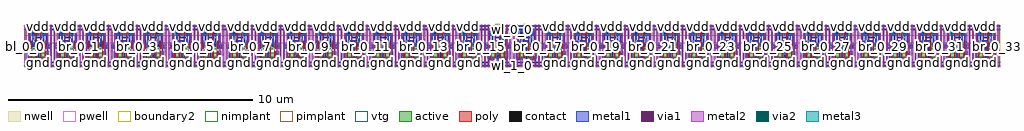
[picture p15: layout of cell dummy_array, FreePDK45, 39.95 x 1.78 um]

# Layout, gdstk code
import gdstk
lib = gdstk.Library(unit=1e-6, precision=5e-10)
def R(c, l, rs):  # rectangles x0, y0, x1, y1
    for r in rs: c.add(gdstk.rectangle(r[:2], r[2:], *l))
def A(c, l, x, y, w, h, nx, ny, dx, dy):  # array of equal rectangles
    R(c, l, [(x+i*dx, y+j*dy, x+i*dx+w, y+j*dy+h) for i in range(nx) for j in range(ny)])
active = (1, 0)
pwell = (2, 0)
nwell = (3, 0)
nimplant = (4, 0)
pimplant = (5, 0)
vtg = (6, 0)
poly = (9, 0)
contact = (10, 0)
metal1 = (11, 0)
via1 = (12, 0)
metal2 = (13, 0)
via2 = (14, 0)
metal3 = (15, 0)
boundary2 = (239, 0)

dummy_cell_2rw = lib.new_cell('dummy_cell_2rw')
R(dummy_cell_2rw, active, [(0.545,0.155,0.635,0.245), (0.165,0.4175,0.22,0.5975), (0.2075,0.4175,0.2775,0.5975), (0.2075,0.4175,0.3975,0.5975), (0.3275,0.4175,0.3975,0.5975), (0.3975,0.4175,0.4675,0.5975), (0.3975,0.4175,0.5875,0.5975), (0.5175,0.4175,0.5875,0.5975), (0.5525,0.4175,0.6275,0.4925), (0.5525,0.4175,0.6275,0.5975), (0.5525,0.4175,0.6275,0.5975), (0.5525,0.4175,0.7775,0.5975), (0.7075,0.4175,0.7775,0.5975), (0.7775,0.4175,0.8475,0.5975), (0.7775,0.4175,0.9675,0.5975), (0.8975,0.4175,0.9675,0.5975), (0.955,0.4175,1.01,0.5975), (0.165,0.4625,0.255,0.5525), (0.92,0.4625,1.01,0.5525), (0.3625,0.7375,0.4375,0.9425), (0.3625,0.7375,0.4375,0.9425), (0.3625,0.7375,0.5875,0.9425), (0.5175,0.7375,0.5875,0.9425), (0.5875,0.7375,0.6575,0.9425), (0.5875,0.7375,0.8125,0.9425), (0.7375,0.7375,0.8125,0.9425), (0.7375,0.7375,0.8125,0.9425), (0.545,0.7575,0.635,0.8475), (0.1575,0.8075,0.2325,0.8825), (0.1575,0.8075,0.2325,0.9425), (0.1575,0.8075,0.2325,0.9425), (0.1575,0.8075,0.3825,0.9425), (0.3125,0.8075,0.3825,0.9425), (0.7925,0.8075,0.8625,0.9425), (0.7925,0.8075,1.0175,0.9425), (0.9425,0.8075,1.0175,0.8825), (0.9425,0.8075,1.0175,0.9425), (0.9425,0.8075,1.0175,0.9425), (0.3625,0.8675,0.4375,0.9425), (0.7375,0.8675,0.8125,0.9425), (0.3625,1.3475,0.4375,1.4225), (0.3625,1.3475,0.4375,1.4375), (0.3625,1.3475,0.4375,1.4375), (0.3625,1.3475,0.6225,1.4375), (0.5475,1.3475,0.6225,1.4225), (0.5475,1.3475,0.6225,1.4375), (0.5475,1.3475,0.6225,1.4375), (0.5875,1.3475,0.6575,1.4375), (0.5875,1.3475,0.8125,1.4375), (0.7375,1.3475,0.8125,1.4225), (0.7375,1.3475,0.8125,1.4375), (0.7375,1.3475,0.8125,1.4375), (0.54,1.635,0.63,1.725)])
R(dummy_cell_2rw, pwell, [(0,0,1.175,0.9975), (0.49,0.1,0.69,0.3), (0.1525,0.3625,0.4525,0.6525), (0.3425,0.3625,0.6425,0.6525), (0.4975,0.3625,0.8325,0.6525), (0.7225,0.3625,1.0225,0.6525), (0.3075,0.6825,0.6425,0.9975), (0.5325,0.6825,0.8675,0.9975), (0.1025,0.7525,0.4375,0.9975), (0.7375,0.7525,1.0725,0.9975)])
R(dummy_cell_2rw, nwell, [(0,1.2925,1.175,1.68), (0.3075,1.2925,0.6775,1.4925), (0.5325,1.2925,0.8675,1.4925), (0.485,1.58,0.685,1.78)])
R(dummy_cell_2rw, nimplant, [(0.165,0.4175,0.22,0.5975), (0.2075,0.4175,0.3975,0.5975), (0.3975,0.4175,0.5875,0.5975), (0.5525,0.4175,0.7775,0.5975), (0.7775,0.4175,0.9675,0.5975), (0.955,0.4175,1.01,0.5975), (0.165,0.4625,0.255,0.5525), (0.92,0.4625,1.01,0.5525), (0.3625,0.7375,0.5875,0.9425), (0.5875,0.7375,0.8125,0.9425), (0.545,0.7575,0.635,0.8475), (0.1575,0.8075,0.3825,0.9425), (0.7925,0.8075,1.0175,0.9425), (0.54,1.635,0.63,1.725)])
R(dummy_cell_2rw, pimplant, [(0.545,0.155,0.635,0.245), (0.3625,1.3475,0.6225,1.4375), (0.5875,1.3475,0.8125,1.4375)])
R(dummy_cell_2rw, vtg, [(0.1525,0.3625,0.4525,0.6525), (0.3425,0.3625,0.6425,0.6525), (0.4975,0.3625,0.8325,0.6525), (0.7225,0.3625,1.0225,0.6525), (0.3075,0.6825,0.6425,0.9975), (0.5325,0.6825,0.8675,0.9975), (0.1025,0.7525,0.4375,0.9975), (0.7375,0.7525,1.0725,0.9975), (0.3075,1.2925,0.6775,1.4925), (0.5325,1.2925,0.8675,1.4925)])
A(dummy_cell_2rw, poly, 0.2775, 0.3625, 0.05, 0.055, 4, 2, 0.19, 0.235)
A(dummy_cell_2rw, poly, 0.2775, 0.3625, 0.05, 0.29, 4, 1, 0.19, 0)
R(dummy_cell_2rw, poly, [(0.265,0.2925,0.34,0.3675), (0.835,0.2925,0.91,0.3675), (0.6575,0.625,0.7075,0.71), (0.4675,0.635,0.5175,0.71), (0.4675,0.6825,0.5175,0.9975), (0.4675,0.6825,0.5175,0.7375), (0.6575,0.6825,0.7075,0.9975), (0.6575,0.6825,0.7075,0.7375), (0.2625,0.7525,0.3125,0.8075), (0.2625,0.7525,0.3125,0.9975), (0.8625,0.7525,0.9125,0.8075), (0.8625,0.7525,0.9125,0.9975), (0.4675,0.9075,0.5175,1.32), (0.6575,0.9075,0.7075,1.32), (0.2625,0.9425,0.3125,0.9975), (0.4675,0.9425,0.5175,0.9975), (0.6575,0.9425,0.7075,0.9975), (0.8625,0.9425,0.9125,0.9975), (0.2625,0.985,0.3125,1.0825), (0.8625,0.985,0.9125,1.0825), (0.2125,1.0075,0.2875,1.0825), (0.8875,1.0075,0.9625,1.0825), (0.5925,1.0325,0.6675,1.1075), (0.5075,1.1825,0.5825,1.2575), (0.4675,1.2925,0.5175,1.3475), (0.4675,1.2925,0.5175,1.4925), (0.6575,1.2925,0.7075,1.3475), (0.6575,1.2925,0.7075,1.4925), (0.4675,1.4375,0.5175,1.4925), (0.6575,1.4375,0.7075,1.4925)])
R(dummy_cell_2rw, contact, [(0.5575,0.1675,0.6225,0.2325), (0.27,0.2975,0.335,0.3625), (0.84,0.2975,0.905,0.3625), (0.5575,0.4225,0.6225,0.4875), (0.1775,0.475,0.2425,0.54), (0.9325,0.475,0.9975,0.54), (0.5575,0.77,0.6225,0.835), (0.1625,0.8125,0.2275,0.8775), (0.9475,0.8125,1.0125,0.8775), (0.3675,0.8725,0.4325,0.9375), (0.7425,0.8725,0.8075,0.9375), (0.2175,1.0125,0.2825,1.0775), (0.8925,1.0125,0.9575,1.0775), (0.5975,1.0375,0.6625,1.1025), (0.5125,1.1875,0.5775,1.2525), (0.3675,1.3525,0.4325,1.4175), (0.5525,1.3525,0.6175,1.4175), (0.7425,1.3525,0.8075,1.4175), (0.5525,1.6475,0.6175,1.7125)])
R(dummy_cell_2rw, metal1, [(0,0.0375,1.175,0.1025), (0,0.0375,1.175,0.1025), (0.315,0.0375,0.45,0.1025), (0.725,0.0375,0.86,0.1025), (0.11,0.05,0.1725,0.08), (0,0.1675,1.175,0.2325), (0.5225,0.1675,0.6575,0.2325), (0.5575,0.1975,0.6225,0.8), (0.235,0.2975,0.37,0.3625), (0.315,0.2975,0.45,0.3625), (0.725,0.2975,0.86,0.3625), (0.805,0.2975,0.94,0.3625), (0.5575,0.3875,0.6225,0.5225), (0.1775,0.44,0.2425,0.575), (0.1775,0.44,0.2425,0.575), (0.9325,0.44,0.9975,0.575), (0.9325,0.44,0.9975,0.575), (0.5575,0.735,0.6225,0.87), (0.0375,0.7775,0.1025,0.9125), (0.0375,0.7775,0.2275,0.9125), (0.1625,0.7775,0.2275,0.9125), (0.9475,0.7775,1.0125,0.9125), (0.9475,0.7775,1.1375,0.9125), (1.0725,0.7775,1.1375,0.9125), (0.3475,0.8375,0.4125,1.4525), (0.3675,0.8375,0.4325,0.9725), (0.7425,0.8375,0.8075,0.9725), (0.7625,0.8375,0.8275,1.4525), (0.2175,0.9775,0.2825,1.1125), (0.8925,0.9775,0.9575,1.1125), (0.3675,1.0375,0.5825,1.1025), (0.5625,1.0375,0.6975,1.1025), (0.2175,1.08,0.2825,1.57), (0.8925,1.08,0.9575,1.57), (0.4775,1.1875,0.6125,1.2525), (0.5925,1.1875,0.8275,1.2525), (0.3675,1.3175,0.4325,1.4525), (0.5525,1.3175,0.6175,1.4525), (0.5525,1.3175,0.6175,1.4525), (0.7425,1.3175,0.8075,1.4525), (0,1.5175,1.175,1.5825), (0,1.5175,1.175,1.5825), (0.1,1.5275,0.185,1.5625), (0,1.6475,1.175,1.7125), (0.5175,1.6475,0.6525,1.7125), (0.5175,1.6475,0.6525,1.7125)])
R(dummy_cell_2rw, via1, [(0.35,0.0375,0.415,0.1025), (0.76,0.0375,0.825,0.1025), (0.5575,0.1675,0.6225,0.2325), (0.35,0.2975,0.415,0.3625), (0.76,0.2975,0.825,0.3625), (0.5525,1.3525,0.6175,1.4175), (0.5525,1.6475,0.6175,1.7125)])
R(dummy_cell_2rw, metal2, [(0.035,0,0.105,1.745), (0.035,0,0.105,1.745), (0.175,0,0.245,1.745), (0.175,0,0.245,1.745), (0.93,0,1,1.745), (0.93,0,1,1.745), (1.07,0,1.14,1.745), (1.07,0,1.14,1.745), (0.315,0.035,0.45,0.105), (0.725,0.035,0.86,0.105), (0.3475,0.1025,0.4175,0.365), (0.7575,0.1025,0.8275,0.365), (0.5225,0.165,0.6575,0.235), (0.315,0.295,0.45,0.365), (0.725,0.295,0.86,0.365), (0.175,0.44,0.245,0.575), (0.93,0.44,1,0.575), (0.035,0.7775,0.105,0.9125), (1.07,0.7775,1.14,0.9125), (0.55,1.3175,0.62,1.4525), (1.0875,1.3225,1.1325,1.3575), (0.9525,1.33,0.985,1.36), (0.1925,1.34,0.23,1.365), (0.0475,1.3425,0.09,1.37), (0.55,1.3425,0.62,1.7125), (0.5175,1.645,0.6525,1.715)])
R(dummy_cell_2rw, via2, [(0.5575,0.1675,0.6225,0.2325), (0.5525,1.6475,0.6175,1.7125)])
R(dummy_cell_2rw, metal3, [(0.5225,0.165,0.6575,0.235), (0.5225,0.165,0.6575,0.235), (0.5825,0.1875,0.605,0.21), (0.5175,1.645,0.6525,1.715), (0.5175,1.645,0.6525,1.715), (0.58,1.6775,0.59,1.6875)])
R(dummy_cell_2rw, boundary2, [(0,0,1.175,1.68)])
dummy_cell_2rw.add(gdstk.Label('wl1', (0.135,0.0625), layer=11, texttype=0))
dummy_cell_2rw.add(gdstk.Label('wl0', (0.14,1.54), layer=11, texttype=0))
dummy_cell_2rw.add(gdstk.Label('br0', (1.1075,1.3425), layer=13, texttype=0))
dummy_cell_2rw.add(gdstk.Label('br1', (0.9675,1.3475), layer=13, texttype=0))
dummy_cell_2rw.add(gdstk.Label('bl1', (0.205,1.3575), layer=13, texttype=0))
dummy_cell_2rw.add(gdstk.Label('bl0', (0.07,1.3575), layer=13, texttype=0))
dummy_cell_2rw.add(gdstk.Label('vdd', (0.585,1.6825), layer=15, texttype=0))
dummy_cell_2rw.add(gdstk.Label('gnd', (0.5925,0.1975), layer=15, texttype=0))
dummy_cell_2rw.add(gdstk.Label('bl0', (0.07,0.8725), layer=13, texttype=0))
dummy_cell_2rw.add(gdstk.Label('br0', (1.105,0.8725), layer=13, texttype=0))
dummy_cell_2rw.add(gdstk.Label('bl1', (0.21,0.8725), layer=13, texttype=0))
dummy_cell_2rw.add(gdstk.Label('br1', (0.965,0.8725), layer=13, texttype=0))
dummy_cell_2rw.add(gdstk.Label('wl0', (0.5875,1.55), layer=11, texttype=0))
dummy_cell_2rw.add(gdstk.Label('wl1', (0.5875,0.07), layer=11, texttype=0))
dummy_cell_2rw.add(gdstk.Label('vdd', (0.585,1.68), layer=15, texttype=0))
dummy_cell_2rw.add(gdstk.Label('gnd', (0.59,0.2), layer=15, texttype=0))

dummy_array = lib.new_cell('dummy_array')
R(dummy_array, metal1, [(0,0.0375,39.95,0.1025), (0,1.5175,39.95,1.5825)])
A(dummy_array, metal2, 0.93, 0, 0.07, 1.68, 4, 1, 0.14, 0)
A(dummy_array, metal2, 2.105, 0, 0.07, 1.68, 4, 1, 0.14, 0)
A(dummy_array, metal2, 3.28, 0, 0.07, 1.68, 4, 1, 0.14, 0)
A(dummy_array, metal2, 4.455, 0, 0.07, 1.68, 4, 1, 0.14, 0)
A(dummy_array, metal2, 5.63, 0, 0.07, 1.68, 4, 1, 0.14, 0)
A(dummy_array, metal2, 6.805, 0, 0.07, 1.68, 4, 1, 0.14, 0)
A(dummy_array, metal2, 7.98, 0, 0.07, 1.68, 4, 1, 0.14, 0)
A(dummy_array, metal2, 9.155, 0, 0.07, 1.68, 4, 1, 0.14, 0)
A(dummy_array, metal2, 10.33, 0, 0.07, 1.68, 4, 1, 0.14, 0)
A(dummy_array, metal2, 11.505, 0, 0.07, 1.68, 4, 1, 0.14, 0)
A(dummy_array, metal2, 12.68, 0, 0.07, 1.68, 4, 1, 0.14, 0)
A(dummy_array, metal2, 13.855, 0, 0.07, 1.68, 4, 1, 0.14, 0)
A(dummy_array, metal2, 15.03, 0, 0.07, 1.68, 4, 1, 0.14, 0)
A(dummy_array, metal2, 16.205, 0, 0.07, 1.68, 4, 1, 0.14, 0)
A(dummy_array, metal2, 17.38, 0, 0.07, 1.68, 4, 1, 0.14, 0)
A(dummy_array, metal2, 18.555, 0, 0.07, 1.68, 4, 1, 0.14, 0)
A(dummy_array, metal2, 19.73, 0, 0.07, 1.68, 4, 1, 0.14, 0)
A(dummy_array, metal2, 20.905, 0, 0.07, 1.68, 4, 1, 0.14, 0)
A(dummy_array, metal2, 22.08, 0, 0.07, 1.68, 4, 1, 0.14, 0)
A(dummy_array, metal2, 23.255, 0, 0.07, 1.68, 4, 1, 0.14, 0)
A(dummy_array, metal2, 24.43, 0, 0.07, 1.68, 4, 1, 0.14, 0)
A(dummy_array, metal2, 25.605, 0, 0.07, 1.68, 4, 1, 0.14, 0)
A(dummy_array, metal2, 26.78, 0, 0.07, 1.68, 4, 1, 0.14, 0)
A(dummy_array, metal2, 27.955, 0, 0.07, 1.68, 4, 1, 0.14, 0)
A(dummy_array, metal2, 29.13, 0, 0.07, 1.68, 4, 1, 0.14, 0)
A(dummy_array, metal2, 30.305, 0, 0.07, 1.68, 4, 1, 0.14, 0)
A(dummy_array, metal2, 31.48, 0, 0.07, 1.68, 4, 1, 0.14, 0)
A(dummy_array, metal2, 32.655, 0, 0.07, 1.68, 4, 1, 0.14, 0)
A(dummy_array, metal2, 33.83, 0, 0.07, 1.68, 4, 1, 0.14, 0)
A(dummy_array, metal2, 35.005, 0, 0.07, 1.68, 4, 1, 0.14, 0)
A(dummy_array, metal2, 36.18, 0, 0.07, 1.68, 4, 1, 0.14, 0)
A(dummy_array, metal2, 37.355, 0, 0.07, 1.68, 4, 1, 0.14, 0)
A(dummy_array, metal2, 38.53, 0, 0.07, 1.68, 4, 1, 0.14, 0)
R(dummy_array, metal2, [(0.035,0,0.105,1.68), (0.175,0,0.245,1.68), (39.705,0,39.775,1.68), (39.845,0,39.915,1.68)])
A(dummy_array, metal3, 0.5225, 0.165, 0.135, 0.07, 34, 1, 1.175, 0)
A(dummy_array, metal3, 0.5175, 1.645, 0.135, 0.07, 34, 1, 1.175, 0)
R(dummy_array, boundary2, [(0,0,39.95,1.68)])
dummy_array.add(gdstk.Reference(dummy_cell_2rw, (0,0)))
dummy_array.add(gdstk.Reference(dummy_cell_2rw, (1.175,0)))
dummy_array.add(gdstk.Reference(dummy_cell_2rw, (2.35,0)))
dummy_array.add(gdstk.Reference(dummy_cell_2rw, (3.525,0)))
dummy_array.add(gdstk.Reference(dummy_cell_2rw, (4.7,0)))
dummy_array.add(gdstk.Reference(dummy_cell_2rw, (5.875,0)))
dummy_array.add(gdstk.Reference(dummy_cell_2rw, (7.05,0)))
dummy_array.add(gdstk.Reference(dummy_cell_2rw, (8.225,0)))
dummy_array.add(gdstk.Reference(dummy_cell_2rw, (9.4,0)))
dummy_array.add(gdstk.Reference(dummy_cell_2rw, (10.575,0)))
dummy_array.add(gdstk.Reference(dummy_cell_2rw, (11.75,0)))
dummy_array.add(gdstk.Reference(dummy_cell_2rw, (12.925,0)))
dummy_array.add(gdstk.Reference(dummy_cell_2rw, (14.1,0)))
dummy_array.add(gdstk.Reference(dummy_cell_2rw, (15.275,0)))
dummy_array.add(gdstk.Reference(dummy_cell_2rw, (16.45,0)))
dummy_array.add(gdstk.Reference(dummy_cell_2rw, (17.625,0)))
dummy_array.add(gdstk.Reference(dummy_cell_2rw, (18.8,0)))
dummy_array.add(gdstk.Reference(dummy_cell_2rw, (19.975,0)))
dummy_array.add(gdstk.Reference(dummy_cell_2rw, (21.15,0)))
dummy_array.add(gdstk.Reference(dummy_cell_2rw, (22.325,0)))
dummy_array.add(gdstk.Reference(dummy_cell_2rw, (23.5,0)))
dummy_array.add(gdstk.Reference(dummy_cell_2rw, (24.675,0)))
dummy_array.add(gdstk.Reference(dummy_cell_2rw, (25.85,0)))
dummy_array.add(gdstk.Reference(dummy_cell_2rw, (27.025,0)))
dummy_array.add(gdstk.Reference(dummy_cell_2rw, (28.2,0)))
dummy_array.add(gdstk.Reference(dummy_cell_2rw, (29.375,0)))
dummy_array.add(gdstk.Reference(dummy_cell_2rw, (30.55,0)))
dummy_array.add(gdstk.Reference(dummy_cell_2rw, (31.725,0)))
dummy_array.add(gdstk.Reference(dummy_cell_2rw, (32.9,0)))
dummy_array.add(gdstk.Reference(dummy_cell_2rw, (34.075,0)))
dummy_array.add(gdstk.Reference(dummy_cell_2rw, (35.25,0)))
dummy_array.add(gdstk.Reference(dummy_cell_2rw, (36.425,0)))
dummy_array.add(gdstk.Reference(dummy_cell_2rw, (37.6,0)))
dummy_array.add(gdstk.Reference(dummy_cell_2rw, (38.775,0)))
dummy_array.add(gdstk.Label('bl_0_0', (0.07,0.84), layer=13, texttype=0))
dummy_array.add(gdstk.Label('br_0_0', (1.105,0.84), layer=13, texttype=0))
dummy_array.add(gdstk.Label('bl_1_0', (0.21,0.84), layer=13, texttype=0))
dummy_array.add(gdstk.Label('br_1_0', (0.965,0.84), layer=13, texttype=0))
dummy_array.add(gdstk.Label('bl_0_1', (1.245,0.84), layer=13, texttype=0))
dummy_array.add(gdstk.Label('br_0_1', (2.28,0.84), layer=13, texttype=0))
dummy_array.add(gdstk.Label('bl_1_1', (1.385,0.84), layer=13, texttype=0))
dummy_array.add(gdstk.Label('br_1_1', (2.14,0.84), layer=13, texttype=0))
dummy_array.add(gdstk.Label('bl_0_2', (2.42,0.84), layer=13, texttype=0))
dummy_array.add(gdstk.Label('br_0_2', (3.455,0.84), layer=13, texttype=0))
dummy_array.add(gdstk.Label('bl_1_2', (2.56,0.84), layer=13, texttype=0))
dummy_array.add(gdstk.Label('br_1_2', (3.315,0.84), layer=13, texttype=0))
dummy_array.add(gdstk.Label('bl_0_3', (3.595,0.84), layer=13, texttype=0))
dummy_array.add(gdstk.Label('br_0_3', (4.63,0.84), layer=13, texttype=0))
dummy_array.add(gdstk.Label('bl_1_3', (3.735,0.84), layer=13, texttype=0))
dummy_array.add(gdstk.Label('br_1_3', (4.49,0.84), layer=13, texttype=0))
dummy_array.add(gdstk.Label('bl_0_4', (4.77,0.84), layer=13, texttype=0))
dummy_array.add(gdstk.Label('br_0_4', (5.805,0.84), layer=13, texttype=0))
dummy_array.add(gdstk.Label('bl_1_4', (4.91,0.84), layer=13, texttype=0))
dummy_array.add(gdstk.Label('br_1_4', (5.665,0.84), layer=13, texttype=0))
dummy_array.add(gdstk.Label('bl_0_5', (5.945,0.84), layer=13, texttype=0))
dummy_array.add(gdstk.Label('br_0_5', (6.98,0.84), layer=13, texttype=0))
dummy_array.add(gdstk.Label('bl_1_5', (6.085,0.84), layer=13, texttype=0))
dummy_array.add(gdstk.Label('br_1_5', (6.84,0.84), layer=13, texttype=0))
dummy_array.add(gdstk.Label('bl_0_6', (7.12,0.84), layer=13, texttype=0))
dummy_array.add(gdstk.Label('br_0_6', (8.155,0.84), layer=13, texttype=0))
dummy_array.add(gdstk.Label('bl_1_6', (7.26,0.84), layer=13, texttype=0))
dummy_array.add(gdstk.Label('br_1_6', (8.015,0.84), layer=13, texttype=0))
dummy_array.add(gdstk.Label('bl_0_7', (8.295,0.84), layer=13, texttype=0))
dummy_array.add(gdstk.Label('br_0_7', (9.33,0.84), layer=13, texttype=0))
dummy_array.add(gdstk.Label('bl_1_7', (8.435,0.84), layer=13, texttype=0))
dummy_array.add(gdstk.Label('br_1_7', (9.19,0.84), layer=13, texttype=0))
dummy_array.add(gdstk.Label('bl_0_8', (9.47,0.84), layer=13, texttype=0))
dummy_array.add(gdstk.Label('br_0_8', (10.505,0.84), layer=13, texttype=0))
dummy_array.add(gdstk.Label('bl_1_8', (9.61,0.84), layer=13, texttype=0))
dummy_array.add(gdstk.Label('br_1_8', (10.365,0.84), layer=13, texttype=0))
dummy_array.add(gdstk.Label('bl_0_9', (10.645,0.84), layer=13, texttype=0))
dummy_array.add(gdstk.Label('br_0_9', (11.68,0.84), layer=13, texttype=0))
dummy_array.add(gdstk.Label('bl_1_9', (10.785,0.84), layer=13, texttype=0))
dummy_array.add(gdstk.Label('br_1_9', (11.54,0.84), layer=13, texttype=0))
dummy_array.add(gdstk.Label('bl_0_10', (11.82,0.84), layer=13, texttype=0))
dummy_array.add(gdstk.Label('br_0_10', (12.855,0.84), layer=13, texttype=0))
dummy_array.add(gdstk.Label('bl_1_10', (11.96,0.84), layer=13, texttype=0))
dummy_array.add(gdstk.Label('br_1_10', (12.715,0.84), layer=13, texttype=0))
dummy_array.add(gdstk.Label('bl_0_11', (12.995,0.84), layer=13, texttype=0))
dummy_array.add(gdstk.Label('br_0_11', (14.03,0.84), layer=13, texttype=0))
dummy_array.add(gdstk.Label('bl_1_11', (13.135,0.84), layer=13, texttype=0))
dummy_array.add(gdstk.Label('br_1_11', (13.89,0.84), layer=13, texttype=0))
dummy_array.add(gdstk.Label('bl_0_12', (14.17,0.84), layer=13, texttype=0))
dummy_array.add(gdstk.Label('br_0_12', (15.205,0.84), layer=13, texttype=0))
dummy_array.add(gdstk.Label('bl_1_12', (14.31,0.84), layer=13, texttype=0))
dummy_array.add(gdstk.Label('br_1_12', (15.065,0.84), layer=13, texttype=0))
dummy_array.add(gdstk.Label('bl_0_13', (15.345,0.84), layer=13, texttype=0))
dummy_array.add(gdstk.Label('br_0_13', (16.38,0.84), layer=13, texttype=0))
dummy_array.add(gdstk.Label('bl_1_13', (15.485,0.84), layer=13, texttype=0))
dummy_array.add(gdstk.Label('br_1_13', (16.24,0.84), layer=13, texttype=0))
dummy_array.add(gdstk.Label('bl_0_14', (16.52,0.84), layer=13, texttype=0))
dummy_array.add(gdstk.Label('br_0_14', (17.555,0.84), layer=13, texttype=0))
dummy_array.add(gdstk.Label('bl_1_14', (16.66,0.84), layer=13, texttype=0))
dummy_array.add(gdstk.Label('br_1_14', (17.415,0.84), layer=13, texttype=0))
dummy_array.add(gdstk.Label('bl_0_15', (17.695,0.84), layer=13, texttype=0))
dummy_array.add(gdstk.Label('br_0_15', (18.73,0.84), layer=13, texttype=0))
dummy_array.add(gdstk.Label('bl_1_15', (17.835,0.84), layer=13, texttype=0))
dummy_array.add(gdstk.Label('br_1_15', (18.59,0.84), layer=13, texttype=0))
dummy_array.add(gdstk.Label('bl_0_16', (18.87,0.84), layer=13, texttype=0))
dummy_array.add(gdstk.Label('br_0_16', (19.905,0.84), layer=13, texttype=0))
dummy_array.add(gdstk.Label('bl_1_16', (19.01,0.84), layer=13, texttype=0))
dummy_array.add(gdstk.Label('br_1_16', (19.765,0.84), layer=13, texttype=0))
dummy_array.add(gdstk.Label('bl_0_17', (20.045,0.84), layer=13, texttype=0))
dummy_array.add(gdstk.Label('br_0_17', (21.08,0.84), layer=13, texttype=0))
dummy_array.add(gdstk.Label('bl_1_17', (20.185,0.84), layer=13, texttype=0))
dummy_array.add(gdstk.Label('br_1_17', (20.94,0.84), layer=13, texttype=0))
dummy_array.add(gdstk.Label('bl_0_18', (21.22,0.84), layer=13, texttype=0))
dummy_array.add(gdstk.Label('br_0_18', (22.255,0.84), layer=13, texttype=0))
dummy_array.add(gdstk.Label('bl_1_18', (21.36,0.84), layer=13, texttype=0))
dummy_array.add(gdstk.Label('br_1_18', (22.115,0.84), layer=13, texttype=0))
dummy_array.add(gdstk.Label('bl_0_19', (22.395,0.84), layer=13, texttype=0))
dummy_array.add(gdstk.Label('br_0_19', (23.43,0.84), layer=13, texttype=0))
dummy_array.add(gdstk.Label('bl_1_19', (22.535,0.84), layer=13, texttype=0))
dummy_array.add(gdstk.Label('br_1_19', (23.29,0.84), layer=13, texttype=0))
dummy_array.add(gdstk.Label('bl_0_20', (23.57,0.84), layer=13, texttype=0))
dummy_array.add(gdstk.Label('br_0_20', (24.605,0.84), layer=13, texttype=0))
dummy_array.add(gdstk.Label('bl_1_20', (23.71,0.84), layer=13, texttype=0))
dummy_array.add(gdstk.Label('br_1_20', (24.465,0.84), layer=13, texttype=0))
dummy_array.add(gdstk.Label('bl_0_21', (24.745,0.84), layer=13, texttype=0))
dummy_array.add(gdstk.Label('br_0_21', (25.78,0.84), layer=13, texttype=0))
dummy_array.add(gdstk.Label('bl_1_21', (24.885,0.84), layer=13, texttype=0))
dummy_array.add(gdstk.Label('br_1_21', (25.64,0.84), layer=13, texttype=0))
dummy_array.add(gdstk.Label('bl_0_22', (25.92,0.84), layer=13, texttype=0))
dummy_array.add(gdstk.Label('br_0_22', (26.955,0.84), layer=13, texttype=0))
dummy_array.add(gdstk.Label('bl_1_22', (26.06,0.84), layer=13, texttype=0))
dummy_array.add(gdstk.Label('br_1_22', (26.815,0.84), layer=13, texttype=0))
dummy_array.add(gdstk.Label('bl_0_23', (27.095,0.84), layer=13, texttype=0))
dummy_array.add(gdstk.Label('br_0_23', (28.13,0.84), layer=13, texttype=0))
dummy_array.add(gdstk.Label('bl_1_23', (27.235,0.84), layer=13, texttype=0))
dummy_array.add(gdstk.Label('br_1_23', (27.99,0.84), layer=13, texttype=0))
dummy_array.add(gdstk.Label('bl_0_24', (28.27,0.84), layer=13, texttype=0))
dummy_array.add(gdstk.Label('br_0_24', (29.305,0.84), layer=13, texttype=0))
dummy_array.add(gdstk.Label('bl_1_24', (28.41,0.84), layer=13, texttype=0))
dummy_array.add(gdstk.Label('br_1_24', (29.165,0.84), layer=13, texttype=0))
dummy_array.add(gdstk.Label('bl_0_25', (29.445,0.84), layer=13, texttype=0))
dummy_array.add(gdstk.Label('br_0_25', (30.48,0.84), layer=13, texttype=0))
dummy_array.add(gdstk.Label('bl_1_25', (29.585,0.84), layer=13, texttype=0))
dummy_array.add(gdstk.Label('br_1_25', (30.34,0.84), layer=13, texttype=0))
dummy_array.add(gdstk.Label('bl_0_26', (30.62,0.84), layer=13, texttype=0))
dummy_array.add(gdstk.Label('br_0_26', (31.655,0.84), layer=13, texttype=0))
dummy_array.add(gdstk.Label('bl_1_26', (30.76,0.84), layer=13, texttype=0))
dummy_array.add(gdstk.Label('br_1_26', (31.515,0.84), layer=13, texttype=0))
dummy_array.add(gdstk.Label('bl_0_27', (31.795,0.84), layer=13, texttype=0))
dummy_array.add(gdstk.Label('br_0_27', (32.83,0.84), layer=13, texttype=0))
dummy_array.add(gdstk.Label('bl_1_27', (31.935,0.84), layer=13, texttype=0))
dummy_array.add(gdstk.Label('br_1_27', (32.69,0.84), layer=13, texttype=0))
dummy_array.add(gdstk.Label('bl_0_28', (32.97,0.84), layer=13, texttype=0))
dummy_array.add(gdstk.Label('br_0_28', (34.005,0.84), layer=13, texttype=0))
dummy_array.add(gdstk.Label('bl_1_28', (33.11,0.84), layer=13, texttype=0))
dummy_array.add(gdstk.Label('br_1_28', (33.865,0.84), layer=13, texttype=0))
dummy_array.add(gdstk.Label('bl_0_29', (34.145,0.84), layer=13, texttype=0))
dummy_array.add(gdstk.Label('br_0_29', (35.18,0.84), layer=13, texttype=0))
dummy_array.add(gdstk.Label('bl_1_29', (34.285,0.84), layer=13, texttype=0))
dummy_array.add(gdstk.Label('br_1_29', (35.04,0.84), layer=13, texttype=0))
dummy_array.add(gdstk.Label('bl_0_30', (35.32,0.84), layer=13, texttype=0))
dummy_array.add(gdstk.Label('br_0_30', (36.355,0.84), layer=13, texttype=0))
dummy_array.add(gdstk.Label('bl_1_30', (35.46,0.84), layer=13, texttype=0))
dummy_array.add(gdstk.Label('br_1_30', (36.215,0.84), layer=13, texttype=0))
dummy_array.add(gdstk.Label('bl_0_31', (36.495,0.84), layer=13, texttype=0))
dummy_array.add(gdstk.Label('br_0_31', (37.53,0.84), layer=13, texttype=0))
dummy_array.add(gdstk.Label('bl_1_31', (36.635,0.84), layer=13, texttype=0))
dummy_array.add(gdstk.Label('br_1_31', (37.39,0.84), layer=13, texttype=0))
dummy_array.add(gdstk.Label('bl_0_32', (37.67,0.84), layer=13, texttype=0))
dummy_array.add(gdstk.Label('br_0_32', (38.705,0.84), layer=13, texttype=0))
dummy_array.add(gdstk.Label('bl_1_32', (37.81,0.84), layer=13, texttype=0))
dummy_array.add(gdstk.Label('br_1_32', (38.565,0.84), layer=13, texttype=0))
dummy_array.add(gdstk.Label('bl_0_33', (38.845,0.84), layer=13, texttype=0))
dummy_array.add(gdstk.Label('br_0_33', (39.88,0.84), layer=13, texttype=0))
dummy_array.add(gdstk.Label('bl_1_33', (38.985,0.84), layer=13, texttype=0))
dummy_array.add(gdstk.Label('br_1_33', (39.74,0.84), layer=13, texttype=0))
dummy_array.add(gdstk.Label('wl_0_0', (19.975,1.55), layer=11, texttype=0))
dummy_array.add(gdstk.Label('wl_1_0', (19.975,0.07), layer=11, texttype=0))
dummy_array.add(gdstk.Label('vdd', (27.61,1.68), layer=15, texttype=0))
dummy_array.add(gdstk.Label('vdd', (39.36,1.68), layer=15, texttype=0))
dummy_array.add(gdstk.Label('vdd', (14.685,1.68), layer=15, texttype=0))
dummy_array.add(gdstk.Label('vdd', (13.51,1.68), layer=15, texttype=0))
dummy_array.add(gdstk.Label('vdd', (9.985,1.68), layer=15, texttype=0))
dummy_array.add(gdstk.Label('vdd', (37.01,1.68), layer=15, texttype=0))
dummy_array.add(gdstk.Label('vdd', (0.585,1.68), layer=15, texttype=0))
dummy_array.add(gdstk.Label('vdd', (35.835,1.68), layer=15, texttype=0))
dummy_array.add(gdstk.Label('vdd', (26.435,1.68), layer=15, texttype=0))
dummy_array.add(gdstk.Label('vdd', (7.635,1.68), layer=15, texttype=0))
dummy_array.add(gdstk.Label('vdd', (38.185,1.68), layer=15, texttype=0))
dummy_array.add(gdstk.Label('vdd', (5.285,1.68), layer=15, texttype=0))
dummy_array.add(gdstk.Label('vdd', (6.46,1.68), layer=15, texttype=0))
dummy_array.add(gdstk.Label('vdd', (1.76,1.68), layer=15, texttype=0))
dummy_array.add(gdstk.Label('vdd', (33.485,1.68), layer=15, texttype=0))
dummy_array.add(gdstk.Label('vdd', (20.56,1.68), layer=15, texttype=0))
dummy_array.add(gdstk.Label('vdd', (15.86,1.68), layer=15, texttype=0))
dummy_array.add(gdstk.Label('vdd', (28.785,1.68), layer=15, texttype=0))
dummy_array.add(gdstk.Label('vdd', (2.935,1.68), layer=15, texttype=0))
dummy_array.add(gdstk.Label('vdd', (19.385,1.68), layer=15, texttype=0))
dummy_array.add(gdstk.Label('vdd', (34.66,1.68), layer=15, texttype=0))
dummy_array.add(gdstk.Label('vdd', (17.035,1.68), layer=15, texttype=0))
dummy_array.add(gdstk.Label('vdd', (25.26,1.68), layer=15, texttype=0))
dummy_array.add(gdstk.Label('vdd', (31.135,1.68), layer=15, texttype=0))
dummy_array.add(gdstk.Label('vdd', (12.335,1.68), layer=15, texttype=0))
dummy_array.add(gdstk.Label('vdd', (22.91,1.68), layer=15, texttype=0))
dummy_array.add(gdstk.Label('vdd', (11.16,1.68), layer=15, texttype=0))
dummy_array.add(gdstk.Label('vdd', (21.735,1.68), layer=15, texttype=0))
dummy_array.add(gdstk.Label('vdd', (32.31,1.68), layer=15, texttype=0))
dummy_array.add(gdstk.Label('vdd', (24.085,1.68), layer=15, texttype=0))
dummy_array.add(gdstk.Label('vdd', (4.11,1.68), layer=15, texttype=0))
dummy_array.add(gdstk.Label('vdd', (18.21,1.68), layer=15, texttype=0))
dummy_array.add(gdstk.Label('vdd', (29.96,1.68), layer=15, texttype=0))
dummy_array.add(gdstk.Label('vdd', (8.81,1.68), layer=15, texttype=0))
dummy_array.add(gdstk.Label('gnd', (39.365,0.2), layer=15, texttype=0))
dummy_array.add(gdstk.Label('gnd', (31.14,0.2), layer=15, texttype=0))
dummy_array.add(gdstk.Label('gnd', (37.015,0.2), layer=15, texttype=0))
dummy_array.add(gdstk.Label('gnd', (26.44,0.2), layer=15, texttype=0))
dummy_array.add(gdstk.Label('gnd', (25.265,0.2), layer=15, texttype=0))
dummy_array.add(gdstk.Label('gnd', (27.615,0.2), layer=15, texttype=0))
dummy_array.add(gdstk.Label('gnd', (20.565,0.2), layer=15, texttype=0))
dummy_array.add(gdstk.Label('gnd', (15.865,0.2), layer=15, texttype=0))
dummy_array.add(gdstk.Label('gnd', (35.84,0.2), layer=15, texttype=0))
dummy_array.add(gdstk.Label('gnd', (17.04,0.2), layer=15, texttype=0))
dummy_array.add(gdstk.Label('gnd', (7.64,0.2), layer=15, texttype=0))
dummy_array.add(gdstk.Label('gnd', (24.09,0.2), layer=15, texttype=0))
dummy_array.add(gdstk.Label('gnd', (12.34,0.2), layer=15, texttype=0))
dummy_array.add(gdstk.Label('gnd', (21.74,0.2), layer=15, texttype=0))
dummy_array.add(gdstk.Label('gnd', (11.165,0.2), layer=15, texttype=0))
dummy_array.add(gdstk.Label('gnd', (5.29,0.2), layer=15, texttype=0))
dummy_array.add(gdstk.Label('gnd', (33.49,0.2), layer=15, texttype=0))
dummy_array.add(gdstk.Label('gnd', (4.115,0.2), layer=15, texttype=0))
dummy_array.add(gdstk.Label('gnd', (13.515,0.2), layer=15, texttype=0))
dummy_array.add(gdstk.Label('gnd', (28.79,0.2), layer=15, texttype=0))
dummy_array.add(gdstk.Label('gnd', (38.19,0.2), layer=15, texttype=0))
dummy_array.add(gdstk.Label('gnd', (8.815,0.2), layer=15, texttype=0))
dummy_array.add(gdstk.Label('gnd', (29.965,0.2), layer=15, texttype=0))
dummy_array.add(gdstk.Label('gnd', (1.765,0.2), layer=15, texttype=0))
dummy_array.add(gdstk.Label('gnd', (0.59,0.2), layer=15, texttype=0))
dummy_array.add(gdstk.Label('gnd', (9.99,0.2), layer=15, texttype=0))
dummy_array.add(gdstk.Label('gnd', (19.39,0.2), layer=15, texttype=0))
dummy_array.add(gdstk.Label('gnd', (34.665,0.2), layer=15, texttype=0))
dummy_array.add(gdstk.Label('gnd', (18.215,0.2), layer=15, texttype=0))
dummy_array.add(gdstk.Label('gnd', (14.69,0.2), layer=15, texttype=0))
dummy_array.add(gdstk.Label('gnd', (22.915,0.2), layer=15, texttype=0))
dummy_array.add(gdstk.Label('gnd', (32.315,0.2), layer=15, texttype=0))
dummy_array.add(gdstk.Label('gnd', (6.465,0.2), layer=15, texttype=0))
dummy_array.add(gdstk.Label('gnd', (2.94,0.2), layer=15, texttype=0))

lib.write_gds('dummy_array.gds')
